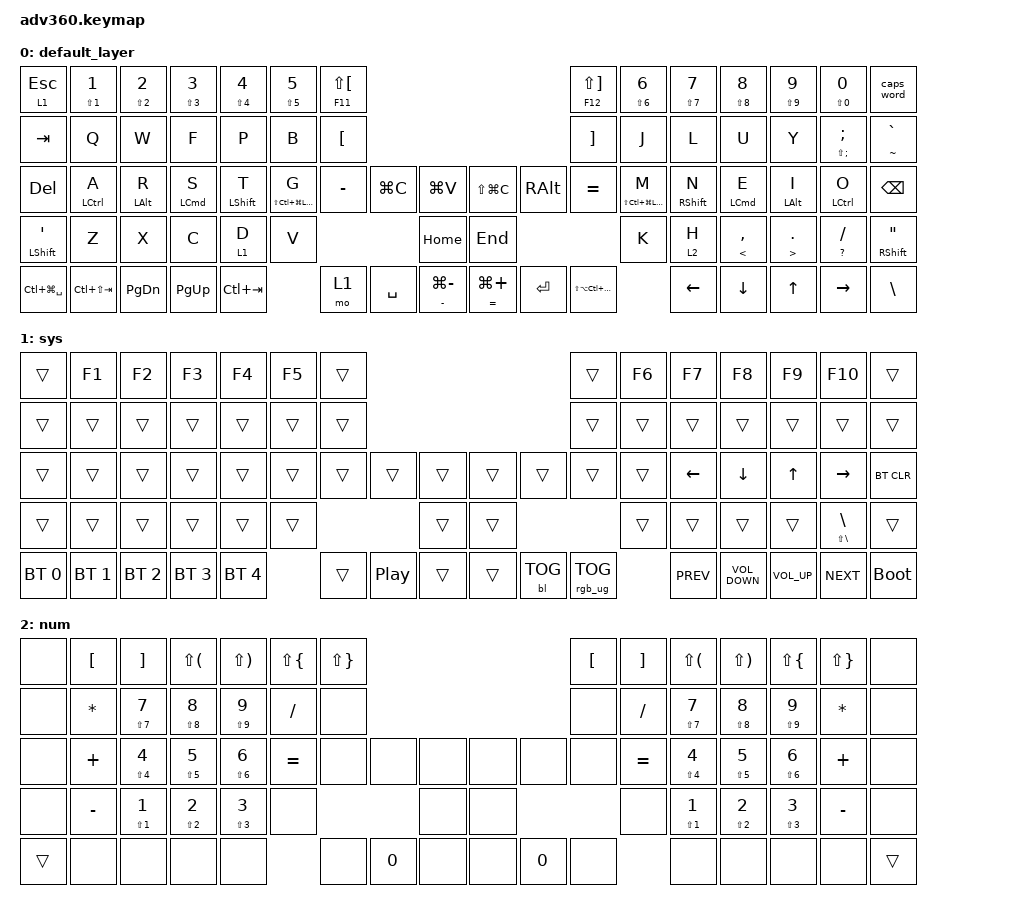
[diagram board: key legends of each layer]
#include <behaviors.dtsi>
#include <dt-bindings/zmk/backlight.h>
#include <dt-bindings/zmk/bt.h>
#include <dt-bindings/zmk/keys.h>
#include <dt-bindings/zmk/rgb.h>

/ {
    behaviors {
        #include "macros.dtsi"
      #include "version.dtsi"
      #ifndef VERSION_MACRO

        macro_ver: macro_ver {
            compatible = "zmk,behavior-macro";
            label = "macro_version";
            #binding-cells = <0>;
            bindings = <&kp RET>;
        };

        #endif

        hm: homerow_mods {
            compatible = "zmk,behavior-hold-tap";
            label = "HOMEROW_MODS";
            #binding-cells = <2>;
            tapping-term-ms = <200>;
            quick_tap_ms = <175>;
            flavor = "tap-preferred";
            bindings = <&kp>, <&kp>;
        };

        hml: hml {
            compatible = "zmk,behavior-hold-tap";
            label = "HML";
            bindings = <&kp>, <&kp>;

            #binding-cells = <2>;
            tapping-term-ms = <250>;
            quick-tap-ms = <150>;
            flavor = "balanced";
            hold-trigger-key-positions = <7 8 9 10 11 12 13 21 22 23 24 25 26 27 37 38 39 40 41 42 43 44 45 53 54 55 56 57 58 59 68 69 70 71 72 73 74 75 35 36 52 66 65 67>;
            hold-trigger-on-release;
        };

        hmr: hmr {
            compatible = "zmk,behavior-hold-tap";
            label = "HMR";
            bindings = <&kp>, <&kp>;

            #binding-cells = <2>;
            tapping-term-ms = <250>;
            quick-tap-ms = <150>;
            flavor = "balanced";
            hold-trigger-key-positions = <0 1 2 3 4 5 6 14 15 16 17 18 19 20 28 29 30 31 32 33 34 35 36 37 46 47 48 49 50 51 52 53 60 61 62 63 64 65 66 67 68 70 69 38>;
            hold-trigger-on-release;
        };

        hmlshift: hmlshift {
            compatible = "zmk,behavior-hold-tap";
            label = "HMLSHIFT";
            bindings = <&kp>, <&kp>;

            #binding-cells = <2>;
            tapping-term-ms = <200>;
            quick-tap-ms = <150>;
            flavor = "balanced";
            hold-trigger-key-positions = <7 8 9 10 11 12 13 21 22 23 24 25 26 27 37 38 39 40 41 42 43 44 45 53 54 55 56 57 58 59 68 69 70 71 72 73 74 75 35 36 52 66 65 67>;
            hold-trigger-on-release;
        };

        hmrshift: hmrshift {
            compatible = "zmk,behavior-hold-tap";
            label = "HMRSHIFT";
            bindings = <&kp>, <&kp>;

            #binding-cells = <2>;
            tapping-term-ms = <200>;
            quick-tap-ms = <150>;
            flavor = "balanced";
            hold-trigger-key-positions = <0 1 2 3 4 5 6 14 15 16 17 18 19 20 28 29 30 31 32 33 34 35 36 37 46 47 48 49 50 51 52 53 60 61 62 63 64 65 66 67 68 70 69 38>;
            hold-trigger-on-release;
        };
    };

    macros {
    };

    combos {
        compatible = "zmk,combos";

        Sleep {
            bindings = <&kp LG(LA(C_SLEEP))>;
            key-positions = <0 13>;
        };
    };

    keymap {
        compatible = "zmk,keymap";

        default_layer {
            bindings = <
&lt 1 ESCAPE        &mt LS(NUMBER_1) NUMBER_1  &mt LS(NUMBER_2) NUMBER_2  &mt LS(NUMBER_3) NUMBER_3  &mt LS(NUMBER_4) NUMBER_4  &mt LS(N5) N5                     &mt F11 LS(LEFT_BRACKET)                                                                         &mt F12 LS(RIGHT_BRACKET)  &mt LS(NUMBER_6) NUMBER_6         &mt LS(NUMBER_7) N7  &mt LS(N8) N8        &mt LS(N9) N9            &mt LS(N0) N0       &caps_word
&kp TAB             &kp Q                      &kp W                      &kp F                      &kp P                      &kp B                             &kp LEFT_BRACKET                                                                                 &kp RIGHT_BRACKET          &kp J                             &kp L                &kp U                &kp Y                    &mt LS(SEMI) SEMI   &mt TILDE GRAVE
&kp DEL             &hml LCTRL A               &hml LEFT_ALT R            &hml LEFT_COMMAND S        &hml LEFT_SHIFT T          &hmlshift LS(LC(LG(LEFT_ALT))) G  &kp MINUS                 &kp LG(C)  &kp LG(V)                &kp LS(LG(C))       &kp RIGHT_ALT  &kp EQUAL                  &hmrshift LS(LC(LG(LEFT_ALT))) M  &hmr RIGHT_SHIFT N   &hmr LEFT_COMMAND E  &hmr LEFT_ALT I          &hmr LCTRL O        &kp BSPC
&mt LEFT_SHIFT SQT  &kp Z                      &kp X                      &kp C                      &lt 1 D                    &kp V                                                                  &kp HOME                 &kp END                                                       &kp K                             &lt 2 H              &mt LESS_THAN COMMA  &mt GREATER_THAN PERIOD  &mt QUESTION SLASH  &mt RIGHT_SHIFT DOUBLE_QUOTES
&kp LC(LG(SPACE))   &kp LC(LS(TAB))            &kp PAGE_DOWN              &kp PG_UP                  &kp LC(TAB)                                                  &mo 1                     &kp SPACE  &mt MINUS LG(MINUS)      &mt EQUAL LG(PLUS)  &kp ENTER      &kp LS(LA(LC(LG(ENTER))))                                    &kp LEFT             &kp DOWN             &kp UP                   &kp RIGHT           &kp BACKSLASH
            >;
        };

        sys {
            bindings = <
&trans        &kp F1        &kp F2        &kp F3        &kp F4        &kp F5  &trans                                                    &trans           &kp F6  &kp F7      &kp F8             &kp F9        &kp F10                      &trans
&trans        &trans        &trans        &trans        &trans        &trans  &trans                                                    &trans           &trans  &trans      &trans             &trans        &trans                       &trans
&trans        &trans        &trans        &trans        &trans        &trans  &trans  &trans            &trans      &trans  &trans      &trans           &trans  &kp LEFT    &kp DOWN           &kp UP        &kp RIGHT                    &bt BT_CLR
&trans        &trans        &trans        &trans        &trans        &trans                            &trans      &trans                               &trans  &trans      &trans             &trans        &mt LS(BACKSLASH) BACKSLASH  &trans
&bt BT_SEL 0  &bt BT_SEL 1  &bt BT_SEL 2  &bt BT_SEL 3  &bt BT_SEL 4          &trans  &kp C_PLAY_PAUSE  &trans      &trans  &bl BL_TOG  &rgb_ug RGB_TOG          &kp C_PREV  &kp C_VOLUME_DOWN  &kp C_VOL_UP  &kp C_NEXT                   &bootloader
            >;
        };

        num {
            bindings = <
&none   &kp LBKT   &kp RBKT                   &kp LS(LPAR)               &kp LS(RPAR)               &kp LS(LBRC)  &kp LS(RBRC)                                    &kp LBKT  &kp RBKT   &kp LS(LPAR)               &kp LS(RPAR)               &kp LS(LBRC)               &kp LS(RBRC)  &none
&none   &kp ASTRK  &mt LS(N7) N7              &mt LS(N8) N8              &mt LS(N9) N9              &kp SLASH     &none                                           &none     &kp SLASH  &mt LS(N7) N7              &mt LS(N8) N8              &mt LS(N9) N9              &kp ASTRK     &none
&none   &kp PLUS   &mt LS(NUMBER_4) NUMBER_4  &mt LS(N5) N5              &mt LS(NUMBER_6) NUMBER_6  &kp EQUAL     &none         &none   &none      &none  &none   &none     &kp EQUAL  &mt LS(NUMBER_4) NUMBER_4  &mt LS(N5) N5              &mt LS(NUMBER_6) NUMBER_6  &kp PLUS      &none
&none   &kp MINUS  &mt LS(NUMBER_1) NUMBER_1  &mt LS(NUMBER_2) NUMBER_2  &mt LS(NUMBER_3) NUMBER_3  &none                               &none      &none                    &none      &mt LS(NUMBER_1) NUMBER_1  &mt LS(NUMBER_2) NUMBER_2  &mt LS(NUMBER_3) NUMBER_3  &kp MINUS     &none
&trans  &none      &none                      &none                      &none                                    &none         &kp N0  &none      &none  &kp N0  &none                &none                      &none                      &none                      &none         &trans
            >;
        };
    };
};
